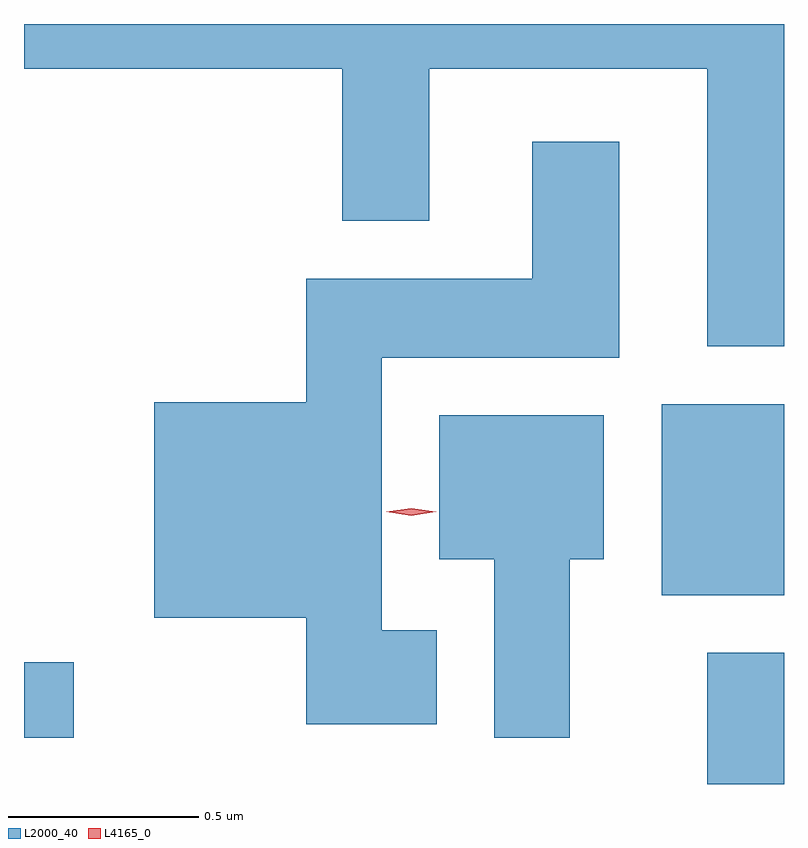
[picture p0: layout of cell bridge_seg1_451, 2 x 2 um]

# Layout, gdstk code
import gdstk
lib = gdstk.Library(unit=1e-6, precision=1e-09)
def R(c, l, rs):  # rectangles x0, y0, x1, y1
    for r in rs: c.add(gdstk.rectangle(r[:2], r[2:], *l))
def P(c, l, *ps):  # polygons
    for p in ps: c.add(gdstk.Polygon(p, *l))
L2000_40 = (2000, 40)
L4165_0 = (4165, 0)

bridge_seg1_451 = lib.new_cell('bridge_seg1_451')
R(bridge_seg1_451, L2000_40, [(365.091,846.634,365.293,846.979), (363.293,846.756,363.424,846.954), (364.971,847.131,365.293,847.634)])
P(bridge_seg1_451, L2000_40, [(365.293,848.634),(363.293,848.634),(363.293,848.516),(364.131,848.516),(364.131,848.116),(364.359,848.116),(364.359,848.516),(365.091,848.516),(365.091,847.786),(365.293,847.786)],
  [(364.379,847.039),(364.234,847.039),(364.234,847.756),(364.859,847.756),(364.859,848.324),(364.631,848.324),(364.631,847.964),(364.036,847.964),(364.036,847.639),(363.636,847.639),(363.636,847.071),(364.036,847.071),(364.036,846.791),(364.379,846.791)],
  [(364.729,847.226),(364.819,847.226),(364.819,847.604),(364.386,847.604),(364.386,847.226),(364.531,847.226),(364.531,846.756),(364.729,846.756)])
P(bridge_seg1_451, L4165_0, [(364.312,847.34),(364.246,847.35),(364.246,847.35),(364.246,847.351),(364.312,847.36),(364.377,847.351),(364.378,847.35),(364.377,847.35)])

lib.write_gds('bridge_seg1_451.gds')
